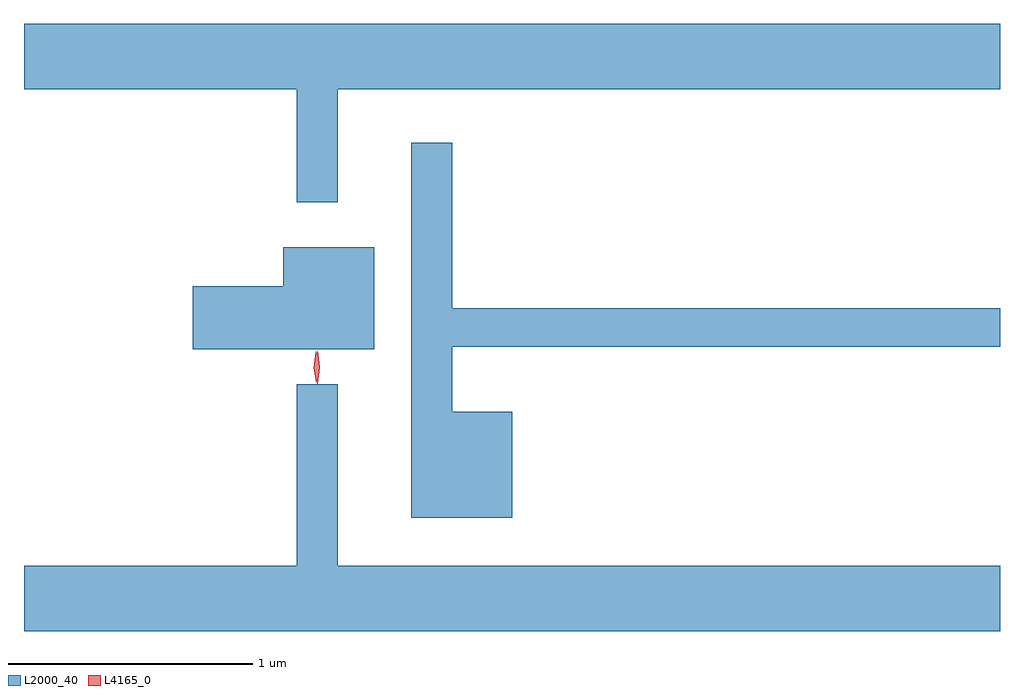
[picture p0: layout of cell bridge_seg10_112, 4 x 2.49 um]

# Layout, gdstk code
import gdstk
lib = gdstk.Library(unit=1e-6, precision=1e-09)
def P(c, l, *ps):  # polygons
    for p in ps: c.add(gdstk.Polygon(p, *l))
L2000_40 = (2000, 40)
L4165_0 = (4165, 0)

bridge_seg10_112 = lib.new_cell('bridge_seg10_112')
P(bridge_seg10_112, L2000_40, [(1559.359,2147.216),(1562.074,2147.216),(1562.074,2147.484),(1558.074,2147.484),(1558.074,2147.216),(1559.191,2147.216),(1559.191,2146.753),(1559.359,2146.753)],
  [(1560.074,2145.894),(1559.829,2145.894),(1559.829,2146.161),(1562.074,2146.161),(1562.074,2146.319),(1559.829,2146.319),(1559.829,2146.998),(1559.661,2146.998),(1559.661,2145.461),(1560.074,2145.461)],
  [(1559.509,2146.569),(1559.136,2146.569),(1559.136,2146.409),(1558.766,2146.409),(1558.766,2146.151),(1559.509,2146.151)],
  [(1562.074,2145.264),(1559.359,2145.264),(1559.359,2146.008),(1559.191,2146.008),(1559.191,2145.264),(1558.074,2145.264),(1558.074,2144.996),(1562.074,2144.996)])
P(bridge_seg10_112, L4165_0, [(1559.271,2146.013),(1559.271,2146.014),(1559.261,2146.076),(1559.27,2146.14),(1559.271,2146.14),(1559.271,2146.14),(1559.281,2146.076),(1559.272,2146.014)],
  [(1559.276,2146.01),(1559.276,2146.01),(1559.267,2146.078),(1559.278,2146.146),(1559.278,2146.146),(1559.278,2146.146),(1559.287,2146.078),(1559.277,2146.01)])

lib.write_gds('bridge_seg10_112.gds')
